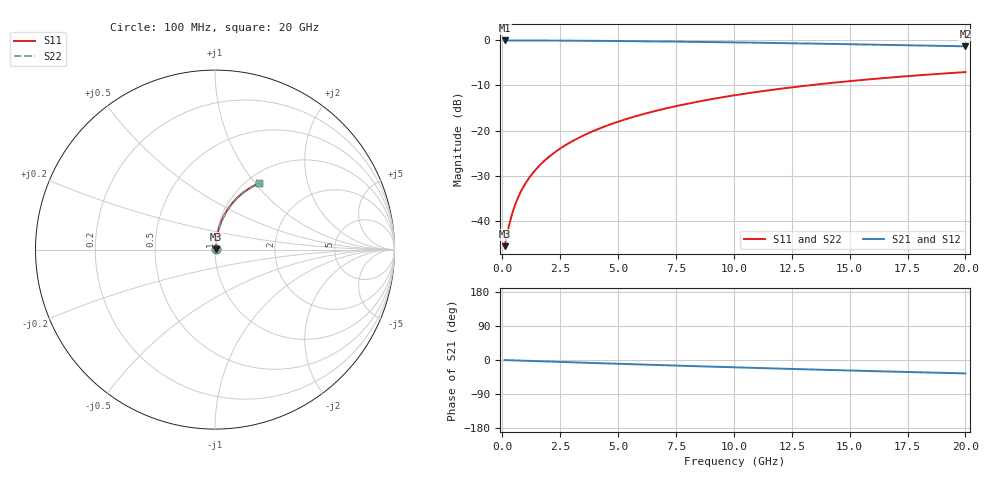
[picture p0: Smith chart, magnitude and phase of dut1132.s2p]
! Touchstone file exported from HFSS 2024.1.0
!  File:  C:/UserFiles/LocalFiles/RDL_TSV_Batchsim/temp_RDL_top_1132_1780047488.aedt
!  Generated:  05:40:17 PM May 29, 2026
!  Design:  RDL_top
!  Project:  temp_RDL_top_1132_1780047488
!  Setup:  Setup1
!  Solution:  Sweep
! Variables:
!  dtsv = 10.80580581um
!  hbump = 3um
!  htsv = 58.58um
!  ldown = 100um
!  lrdl = 399.59um
!  p = 40
!  p1 = 53.54um
!  rhole = 1um
!  t = 450um
!  tdown = 3.915915916um
!  trdl = 2.98um
!  wdown = 15.38538539um
!  wrdl = 10.63um
# GHz S MA R 50.000000
! Terminal data exported
! Port[1] = Box2_T1
! Port[2] = Box2_T2
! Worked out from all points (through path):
!   200 points, 100 MHz to 20 GHz, reference 50 ohm
!   highest |S21| = -0.04 dB at 100 MHz (marker M1); lowest = -1.3 dB at 20 GHz (marker M2)
!   group delay of S21, straight-line fit = 4.92 ps
!   lowest |S11| = -45.6 dB at 100 MHz (marker M3), VSWR 1.01, Z = 50.5 + j0.261 ohm
!   |S11| at or under -10 dB: start of sweep to 13.22 GHz
!   |S22| runs from -45.6 to -7.0 dB; largest |S21 - S12| = 4.2e-15
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0.1  0.005238 29.6  0.9954 -0.2  0.9954 -0.2  0.005238 29.6
! Gamma 0 0 0 0
! Port Impedance 50 0 50 0
0.3  0.009038 58.8  0.9953 -0.6  0.9953 -0.6  0.009038 58.8
0.4  0.01134 65.0  0.9952 -0.8  0.9952 -0.8  0.01134 65.0
0.5  0.01373 69.0  0.9951 -1.0  0.9951 -1.0  0.01373 69.0
0.6  0.01615 71.8  0.995 -1.2  0.995 -1.2  0.01615 71.8
0.7  0.01859 73.8  0.9949 -1.4  0.9949 -1.4  0.01859 73.8
0.9  0.02351 76.4  0.9946 -1.8  0.9946 -1.8  0.02351 76.4
1.2  0.03091 78.6  0.9941 -2.5  0.9941 -2.5  0.03091 78.6
1.4  0.03586 79.5  0.9938 -2.9  0.9938 -2.9  0.03586 79.5
1.7  0.04329 80.3  0.9932 -3.5  0.9932 -3.5  0.04329 80.3
2.2  0.05571 81.0  0.9921 -4.5  0.9921 -4.5  0.05571 81.0
2.8  0.07065 81.1  0.9904 -5.7  0.9904 -5.7  0.07065 81.1
3.5  0.08808 80.7  0.988 -7.1  0.988 -7.1  0.08808 80.7
4.2  0.1055 80.1  0.9851 -8.4  0.9851 -8.4  0.1055 80.1
5  0.1253 79.2  0.9814 -10.0  0.9814 -10.0  0.1253 79.2
5.9  0.1475 78.0  0.9765 -11.7  0.9765 -11.7  0.1475 78.0
6.8  0.1694 76.7  0.9711 -13.4  0.9711 -13.4  0.1694 76.7
8.3  0.2055 74.4  0.9609 -16.2  0.9609 -16.2  0.2055 74.4
10.1  0.2475 71.5  0.9473 -19.5  0.9473 -19.5  0.2475 71.5
13.4  0.32 66.3  0.9192 -25.1  0.9192 -25.1  0.32 66.3
16.7  0.3857 61.1  0.8886 -30.4  0.8886 -30.4  0.3857 61.1
20  0.4443 56.3  0.8569 -35.4  0.8569 -35.4  0.4443 56.3
